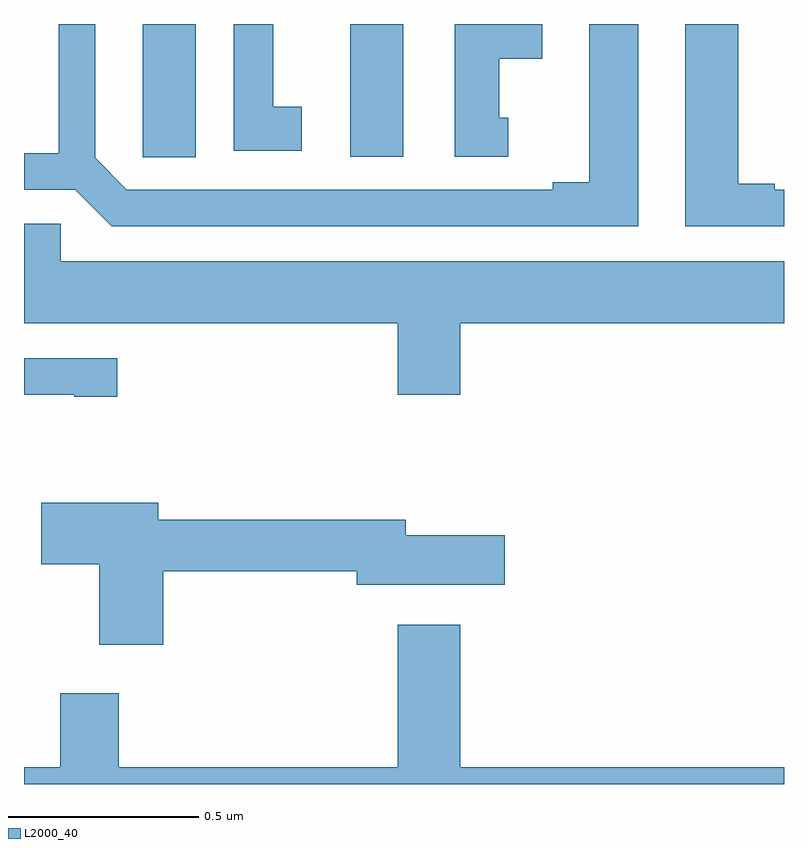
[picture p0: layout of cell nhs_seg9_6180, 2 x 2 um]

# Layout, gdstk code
import gdstk
lib = gdstk.Library(unit=1e-6, precision=1e-09)
def R(c, l, rs):  # rectangles x0, y0, x1, y1
    for r in rs: c.add(gdstk.rectangle(r[:2], r[2:], *l))
def P(c, l, *ps):  # polygons
    for p in ps: c.add(gdstk.Polygon(p, *l))
L2000_40 = (2000, 40)

nhs_seg9_6180 = lib.new_cell('nhs_seg9_6180')
R(nhs_seg9_6180, L2000_40, [(188.858,1238.151,188.998,1238.5)])
P(nhs_seg9_6180, L2000_40, [(189.616,1238.5),(189.488,1238.5),(189.488,1238.084),(189.392,1238.084),(189.392,1238.064),(188.271,1238.064),(188.187,1238.148),(188.187,1238.5),(188.091,1238.5),(188.091,1238.16),(188,1238.16),(188,1238.064),(188.135,1238.064),(188.231,1237.968),(189.616,1237.968)],
  [(190,1238.064),(189.976,1238.064),(189.976,1238.079),(189.88,1238.079),(189.88,1238.5),(189.74,1238.5),(189.74,1237.968),(190,1237.968)],
  [(188.731,1238.282),(188.656,1238.282),(188.656,1238.5),(188.552,1238.5),(188.552,1238.166),(188.731,1238.166)],
  [(189.274,1238.253),(189.25,1238.253),(189.25,1238.408),(189.364,1238.408),(189.364,1238.5),(189.134,1238.5),(189.134,1238.151),(189.274,1238.151)],
  [(188.452,1238.5),(188.312,1238.5),(188.312,1238.257),(188.313,1238.257),(188.313,1238.149),(188.452,1238.149)],
  [(189.148,1237.712),(190,1237.712),(190,1237.876),(188.097,1237.876),(188.097,1237.974),(188,1237.974),(188,1237.712),(188.984,1237.712),(188.984,1237.524),(189.148,1237.524)],
  [(188.245,1237.62),(188,1237.62),(188,1237.524),(188.132,1237.524),(188.132,1237.519),(188.245,1237.519)],
  [(188.366,1237.06),(188.876,1237.06),(188.876,1237.025),(189.265,1237.025),(189.265,1237.155),(189.004,1237.155),(189.004,1237.196),(188.353,1237.196),(188.353,1237.24),(188.046,1237.24),(188.046,1237.078),(188.198,1237.078),(188.198,1236.867),(188.366,1236.867)],
  [(190,1236.544),(189.148,1236.544),(189.148,1236.919),(188.984,1236.919),(188.984,1236.544),(188.249,1236.544),(188.249,1236.739),(188.096,1236.739),(188.096,1236.544),(188,1236.544),(188,1236.5),(190,1236.5)])

lib.write_gds('nhs_seg9_6180.gds')
